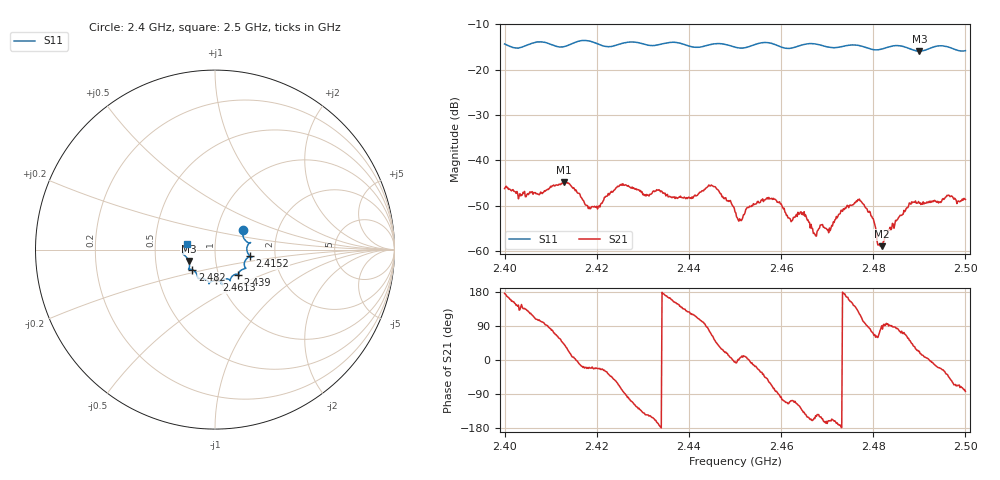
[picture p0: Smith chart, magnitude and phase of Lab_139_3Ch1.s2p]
# Hz S RI R 50
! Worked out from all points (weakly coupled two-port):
!   601 points, 2.4 GHz to 2.5 GHz, reference 50 ohm
!   highest |S21| = -44.75 dB at 2.4128 GHz (marker M1); lowest = -58.9 dB at 2.4818 GHz (marker M2)
!   lowest |S11| = -15.9 dB at 2.49 GHz (marker M3), VSWR 1.38, Z = 37 - j4.82 ohm
!   |S11| at or under -10 dB: start of sweep to end of sweep
!   S12 and S22 are empty: the file has one direction only
!   S11 on the Smith chart (normalised r, x): 2.4 GHz: 1.33, +0.31; 2.4152 GHz: 1.48, -0.11; 2.439 GHz: 1.24, -0.36; 2.4613 GHz: 0.96, -0.34; 2.482 GHz: 0.76, -0.17; 2.5 GHz: 0.73, +0.05
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2.4e9  0.1558 0.1114  -0.00487 0.000352  0 0  0 0
2.412833e9  0.1785 -0.00727  0.00426 0.00392  0 0  0 0
2.415167e9  0.1948 -0.0364  0.0048 0.000337  0 0  0 0
2.416667e9  0.2043 -0.0421  0.00372 -0.00108  0 0  0 0
2.420167e9  0.1875 -0.0424  0.00269 -0.00111  0 0  0 0
2.425167e9  0.166 -0.0966  0.00154 -0.00511  0 0  0 0
2.433333e9  0.1325 -0.1325  -0.00458 -0.000984  0 0  0 0
2.439e9  0.1282 -0.1389  -0.00273 0.00283  0 0  0 0
2.445167e9  0.084 -0.1715  0.00237 0.00464  0 0  0 0
2.45e9  0.0684 -0.1631  0.00269 -0.000204  0 0  0 0
2.451167e9  0.0548 -0.1636  0.00219 0.000246  0 0  0 0
2.4575e9  0.0403 -0.1926  0.0019 -0.00324  0 0  0 0
2.461333e9  0.00775 -0.171  -0.000948 -0.00228  0 0  0 0
2.464667e9  -0.0308 -0.1849  -0.00183 -0.00189  0 0  0 0
2.466667e9  -0.0333 -0.1904  -0.00167 -0.000622  0 0  0 0
2.470333e9  -0.046 -0.1706  -0.00149 -0.000542  0 0  0 0
2.476833e9  -0.0957 -0.1578  -0.00213 0.00298  0 0  0 0
2.481833e9  -0.125 -0.1126  -5.86e-06 0.00113  0 0  0 0
2.482e9  -0.1266 -0.1119  0.000172 0.00114  0 0  0 0
2.483333e9  -0.1396 -0.1097  6.04e-06 0.00173  0 0  0 0
2.49e9  -0.1463 -0.0635  0.00311 0.00132  0 0  0 0
2.5e9  -0.1581 0.0332  0.000458 -0.00367  0 0  0 0
